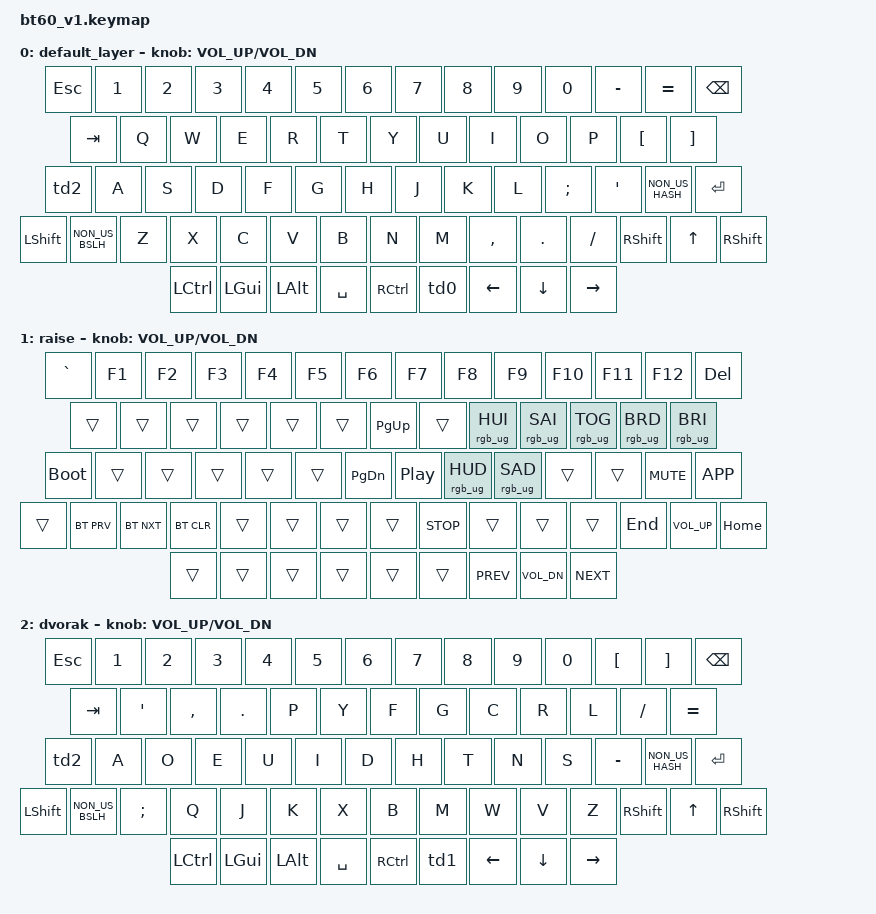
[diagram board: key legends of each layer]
#include <behaviors.dtsi>
#include <dt-bindings/zmk/keys.h>
#include <dt-bindings/zmk/bt.h>
#include <dt-bindings/zmk/rgb.h>
#include <dt-bindings/zmk/backlight.h>

/ {
	behaviors {
        td0: toggle_dvorak {
            compatible = "zmk,behavior-tap-dance";
            label = "toggle_dvorak";
            #binding-cells = <0>;
            tapping-term-ms = <150>;
            bindings = <&mo 1>, <&mo 1>, <&to 2>;
        };
        td1: untoggle_dvorak {
            compatible = "zmk,behavior-tap-dance";
            label = "untoggle_dvorak";
            #binding-cells = <0>;
            tapping-term-ms = <150>;
            bindings = <&mo 1>, <&mo 1>, <&to 0>;
        };
        td2: caps_quickevent {
            compatible = "zmk,behavior-tap-dance";
            label = "caps_quickevent";
            #binding-cells = <0>;
            tapping-term-ms = <150>;
            bindings = <&none>, <&none>, <&kp CAPS>;
        };
    };

	keymap {
		compatible = "zmk,keymap";

		default_layer {
				// ------------------------------------------------------------------------------------------
				// |  ESC  |  1  |  2  |  3  |  4  |  5  |  6  |  7  |  8  |  9  |  0  |  -  |  =  |   BKSP
				// | TAB  |  Q  |  W  |  E  |  R  |  T  |  Y  |  U  |  I  |  O  |  P  |  [  |  ]  |        |
				// | CAPS  |  A  |  S  |  D  |  F  |  G  |  H  |  J  |  K  |  L  |  ;  |  '  |  #  | ENTER |
				// |  SHIFT|  \ |  Z  |  X  |  C  |  V  |  B  |  N  |  M  |  ,  |  .  | / | SHIFT | UP | SHIFT |
				// |  CTL  |  WIN  |  ALT  |            SPACE               | RCTL | FN | LEFT | DOWN | RIGHT|
				// ------------------------------------------------------------------------------------------
			bindings = <
				&kp ESC &kp N1 &kp N2 &kp N3 &kp N4 &kp N5 &kp N6 &kp N7 &kp N8   &kp N9 &kp N0  &kp MINUS &kp EQUAL &kp BSPC
				&kp TAB  &kp Q  &kp W  &kp E  &kp R  &kp T  &kp Y  &kp U  &kp  I    &kp  O  &kp  P   &kp LBKT &kp RBKT
				&td2  &kp A  &kp S  &kp D  &kp F  &kp G  &kp H  &kp J  &kp  K    &kp  L  &kp SEMI &kp SQT &kp NON_US_HASH  &kp RET
				&kp LSHFT &kp NON_US_BSLH &kp Z  &kp X  &kp C  &kp V  &kp B  &kp N  &kp M  &kp COMMA &kp DOT &kp FSLH &kp RSHFT &kp UP &kp RSHFT
				&kp LCTRL &kp LGUI &kp LALT            &kp SPACE                          &kp RCTRL  &td0 &kp LEFT &kp DOWN    &kp RIGHT
			>;
			sensor-bindings = <&inc_dec_kp C_VOL_UP C_VOL_DN>;
		};
		raise {
                //&trans &trans &trans &trans &trans &trans &trans &trans &trans &trans &trans &trans &trans &trans
                //&trans &trans &trans &trans &trans &trans &trans &trans &trans &trans &trans &trans &trans 
                //&trans &trans &trans &trans &trans &trans &trans &trans &trans &trans &trans &trans &trans &trans 
                //&trans &trans &trans &trans &trans &trans &trans &trans &trans &trans &trans &trans &trans &trans &trans 
                //&trans &trans &trans &trans &trans &trans &trans &trans &trans 
			bindings = <
				&kp GRAVE &kp F1 &kp F2 &kp F3 &kp F4 &kp F5 &kp F6 &kp F7 &kp F8 &kp F9 &kp F10 &kp F11 &kp F12 &kp DEL
				&trans &trans &trans &trans &trans &trans &kp PG_UP &trans &rgb_ug RGB_HUI &rgb_ug RGB_SAI &rgb_ug RGB_TOG &rgb_ug RGB_BRD &rgb_ug RGB_BRI
				&bootloader &trans &trans &trans &trans &trans &kp PG_DN &kp C_PP &rgb_ug RGB_HUD &rgb_ug RGB_SAD &trans  &trans  &kp C_MUTE  &kp K_APP
				&trans &bt BT_PRV &bt BT_NXT &bt BT_CLR &trans &trans &trans &trans &kp C_STOP &trans &trans &trans &kp END &kp C_VOL_UP  &kp HOME
				&trans &trans &trans                 &trans                                 &trans &trans &kp C_PREV &kp C_VOL_DN &kp C_NEXT  
			>;
			sensor-bindings = <&inc_dec_kp C_VOL_UP C_VOL_DN>;
		};
        dvorak {
            bindings = <
                //&trans &trans &trans &trans &trans &trans &trans &trans &trans &trans &trans &trans &trans &trans
                //&trans &trans &trans &trans &trans &trans &trans &trans &trans &trans &trans &trans &trans 
                //&trans &trans &trans &trans &trans &trans &trans &trans &trans &trans &trans &trans &trans &trans 
                //&trans &trans &trans &trans &trans &trans &trans &trans &trans &trans &trans &trans &trans &trans &trans 
                //&trans &trans &trans &trans &trans &trans &trans &trans &trans 
                &kp ESC &kp N1 &kp N2 &kp N3 &kp N4 &kp N5 &kp N6 &kp N7 &kp  N8   &kp  N9 &kp  N0  &kp LBKT &kp RBKT &kp BSPC
				&kp TAB  &kp SQT  &kp COMMA  &kp DOT  &kp P  &kp Y  &kp F  &kp G  &kp C     &kp R   &kp L    &kp FSLH &kp EQUAL
				&td2  &kp A  &kp O  &kp E  &kp U  &kp I  &kp D  &kp H  &kp  T    &kp N   &kp S &kp MINUS &kp NON_US_HASH  &kp RET
				&kp LSHFT &kp NON_US_BSLH &kp SEMI  &kp Q  &kp J  &kp K   &kp X  &kp B  &kp M   &kp W  &kp V  &kp Z  &kp RSHFT &kp UP &kp RSHFT
				&kp LCTRL &kp LGUI &kp LALT            &kp SPACE                          &kp RCTRL  &td1 &kp LEFT &kp DOWN    &kp RIGHT
			>;
			sensor-bindings = <&inc_dec_kp C_VOL_UP C_VOL_DN>;
        };
                
	};
};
